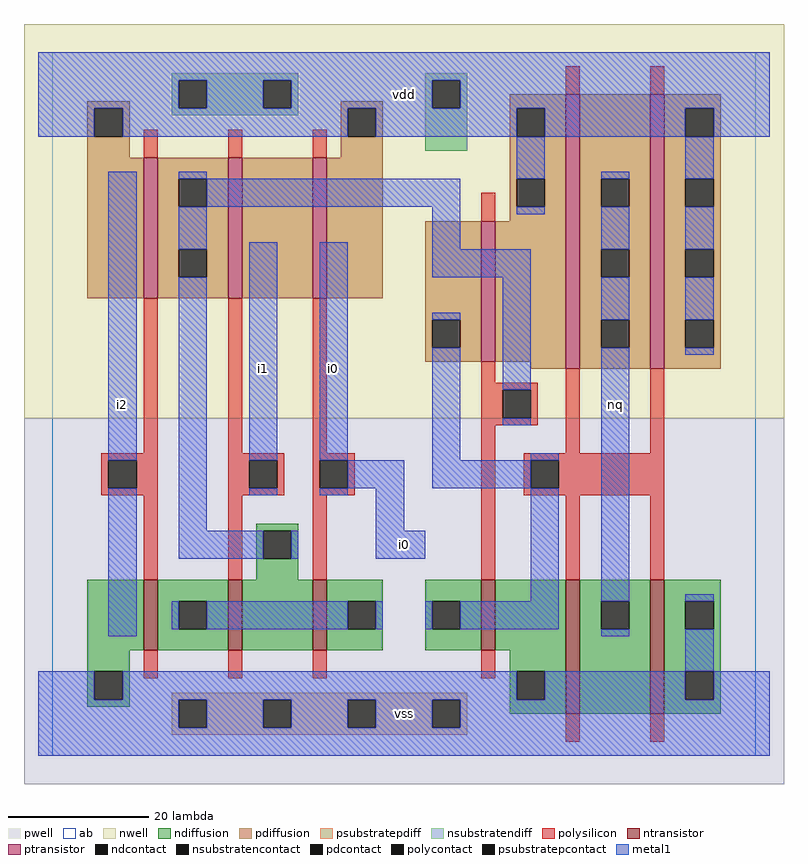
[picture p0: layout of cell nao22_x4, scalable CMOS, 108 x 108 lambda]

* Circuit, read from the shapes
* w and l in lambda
.subckt nao22_x4 i0 i1 i2 nq vdd vss
M1 n1 i2 vss vss nfet w=10 l=2
M2 n2 i1 n1 vss nfet w=10 l=2
M3 n1 i0 n2 vss nfet w=10 l=2
M4 vss n2 n3 vss nfet w=10 l=2
M5 nq n3 vss vss nfet w=19 l=2 m=2
M6 n2 i2 vdd vdd pfet w=20 l=2
M7 n4 i1 n2 vdd pfet w=20 l=2
M8 vdd i0 n4 vdd pfet w=20 l=2
M9 vdd n2 n3 vdd pfet w=20 l=2
M10 nq n3 vdd vdd pfet w=39 l=2 m=2
.ends

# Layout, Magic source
magic
tech scmos
<< ab >>
rect 0 0 100 100
<< pwell >>
rect -4 -4 104 48
<< nwell >>
rect -4 48 104 104
<< polysilicon >>
rect 13 85 15 89
rect 25 85 27 89
rect 37 85 39 89
rect 73 94 75 98
rect 85 94 87 98
rect 61 76 63 80
rect 13 43 15 65
rect 7 42 15 43
rect 7 38 8 42
rect 12 38 15 42
rect 7 37 15 38
rect 13 25 15 37
rect 25 43 27 65
rect 37 43 39 65
rect 61 53 63 56
rect 61 52 69 53
rect 61 48 64 52
rect 68 48 69 52
rect 61 47 69 48
rect 25 42 33 43
rect 25 38 28 42
rect 32 38 33 42
rect 25 37 33 38
rect 37 42 43 43
rect 37 38 38 42
rect 42 38 43 42
rect 37 37 43 38
rect 25 25 27 37
rect 37 25 39 37
rect 61 25 63 47
rect 73 43 75 55
rect 85 43 87 55
rect 67 42 87 43
rect 67 38 68 42
rect 72 38 87 42
rect 67 37 87 38
rect 73 25 75 37
rect 85 25 87 37
rect 13 11 15 15
rect 25 11 27 15
rect 37 11 39 15
rect 61 11 63 15
rect 73 2 75 6
rect 85 2 87 6
<< ndiffusion >>
rect 29 32 35 33
rect 29 28 30 32
rect 34 28 35 32
rect 29 25 35 28
rect 5 15 13 25
rect 15 22 25 25
rect 15 18 18 22
rect 22 18 25 22
rect 15 15 25 18
rect 27 15 37 25
rect 39 22 47 25
rect 39 18 42 22
rect 46 18 47 22
rect 39 15 47 18
rect 53 22 61 25
rect 53 18 54 22
rect 58 18 61 22
rect 53 15 61 18
rect 63 15 73 25
rect 5 12 11 15
rect 5 8 6 12
rect 10 8 11 12
rect 65 12 73 15
rect 5 7 11 8
rect 65 8 66 12
rect 70 8 73 12
rect 65 6 73 8
rect 75 22 85 25
rect 75 18 78 22
rect 82 18 85 22
rect 75 6 85 18
rect 87 22 95 25
rect 87 18 90 22
rect 94 18 95 22
rect 87 12 95 18
rect 87 8 90 12
rect 94 8 95 12
rect 87 6 95 8
<< pdiffusion >>
rect 5 92 11 93
rect 5 88 6 92
rect 10 88 11 92
rect 41 92 47 93
rect 5 85 11 88
rect 41 88 42 92
rect 46 88 47 92
rect 41 85 47 88
rect 65 92 73 94
rect 65 88 66 92
rect 70 88 73 92
rect 5 65 13 85
rect 15 82 25 85
rect 15 78 18 82
rect 22 78 25 82
rect 15 72 25 78
rect 15 68 18 72
rect 22 68 25 72
rect 15 65 25 68
rect 27 65 37 85
rect 39 65 47 85
rect 65 82 73 88
rect 65 78 66 82
rect 70 78 73 82
rect 65 76 73 78
rect 53 62 61 76
rect 53 58 54 62
rect 58 58 61 62
rect 53 56 61 58
rect 63 56 73 76
rect 68 55 73 56
rect 75 82 85 94
rect 75 78 78 82
rect 82 78 85 82
rect 75 72 85 78
rect 75 68 78 72
rect 82 68 85 72
rect 75 62 85 68
rect 75 58 78 62
rect 82 58 85 62
rect 75 55 85 58
rect 87 92 95 94
rect 87 88 90 92
rect 94 88 95 92
rect 87 82 95 88
rect 87 78 90 82
rect 94 78 95 82
rect 87 72 95 78
rect 87 68 90 72
rect 94 68 95 72
rect 87 62 95 68
rect 87 58 90 62
rect 94 58 95 62
rect 87 55 95 58
<< metal1 >>
rect -2 96 102 100
rect -2 92 18 96
rect 22 92 30 96
rect 34 92 54 96
rect 58 92 102 96
rect -2 88 6 92
rect 10 88 42 92
rect 46 88 66 92
rect 70 88 90 92
rect 94 88 102 92
rect 8 42 12 83
rect 8 17 12 38
rect 18 82 22 83
rect 66 82 70 88
rect 22 78 58 82
rect 18 72 22 78
rect 18 32 22 68
rect 28 42 32 73
rect 28 37 32 38
rect 38 42 42 73
rect 54 72 58 78
rect 66 77 70 78
rect 78 82 82 83
rect 78 72 82 78
rect 54 68 68 72
rect 54 62 58 63
rect 54 42 58 58
rect 64 52 68 68
rect 64 47 68 48
rect 78 62 82 68
rect 68 42 72 43
rect 42 38 50 42
rect 54 38 68 42
rect 38 37 42 38
rect 46 32 50 38
rect 18 28 30 32
rect 34 28 35 32
rect 46 28 53 32
rect 68 22 72 38
rect 17 18 18 22
rect 22 18 42 22
rect 46 18 47 22
rect 53 18 54 22
rect 58 18 72 22
rect 78 22 82 58
rect 90 82 94 88
rect 90 72 94 78
rect 90 62 94 68
rect 90 57 94 58
rect 78 17 82 18
rect 90 22 94 23
rect 90 12 94 18
rect -2 8 6 12
rect 10 8 66 12
rect 70 8 90 12
rect 94 8 102 12
rect -2 4 18 8
rect 22 4 30 8
rect 34 4 42 8
rect 46 4 54 8
rect 58 4 102 8
rect -2 0 102 4
<< ntransistor >>
rect 13 15 15 25
rect 25 15 27 25
rect 37 15 39 25
rect 61 15 63 25
rect 73 6 75 25
rect 85 6 87 25
<< ptransistor >>
rect 13 65 15 85
rect 25 65 27 85
rect 37 65 39 85
rect 61 56 63 76
rect 73 55 75 94
rect 85 55 87 94
<< polycontact >>
rect 8 38 12 42
rect 64 48 68 52
rect 28 38 32 42
rect 38 38 42 42
rect 68 38 72 42
<< ndcontact >>
rect 30 28 34 32
rect 18 18 22 22
rect 42 18 46 22
rect 54 18 58 22
rect 6 8 10 12
rect 66 8 70 12
rect 78 18 82 22
rect 90 18 94 22
rect 90 8 94 12
<< pdcontact >>
rect 6 88 10 92
rect 42 88 46 92
rect 66 88 70 92
rect 18 78 22 82
rect 18 68 22 72
rect 66 78 70 82
rect 54 58 58 62
rect 78 78 82 82
rect 78 68 82 72
rect 78 58 82 62
rect 90 88 94 92
rect 90 78 94 82
rect 90 68 94 72
rect 90 58 94 62
<< psubstratepcontact >>
rect 18 4 22 8
rect 30 4 34 8
rect 42 4 46 8
rect 54 4 58 8
<< nsubstratencontact >>
rect 18 92 22 96
rect 30 92 34 96
rect 54 92 58 96
<< psubstratepdiff >>
rect 17 8 59 9
rect 17 4 18 8
rect 22 4 30 8
rect 34 4 42 8
rect 46 4 54 8
rect 58 4 59 8
rect 17 3 59 4
<< nsubstratendiff >>
rect 17 96 35 97
rect 17 92 18 96
rect 22 92 30 96
rect 34 92 35 96
rect 53 96 59 97
rect 17 91 35 92
rect 53 92 54 96
rect 58 92 59 96
rect 53 86 59 92
<< labels >>
rlabel metal1 10 50 10 50 6 i2
rlabel metal1 30 55 30 55 6 i1
rlabel metal1 50 6 50 6 6 vss
rlabel metal1 50 30 50 30 6 i0
rlabel metal1 40 55 40 55 6 i0
rlabel metal1 50 94 50 94 6 vdd
rlabel metal1 80 50 80 50 6 nq
<< end >>
